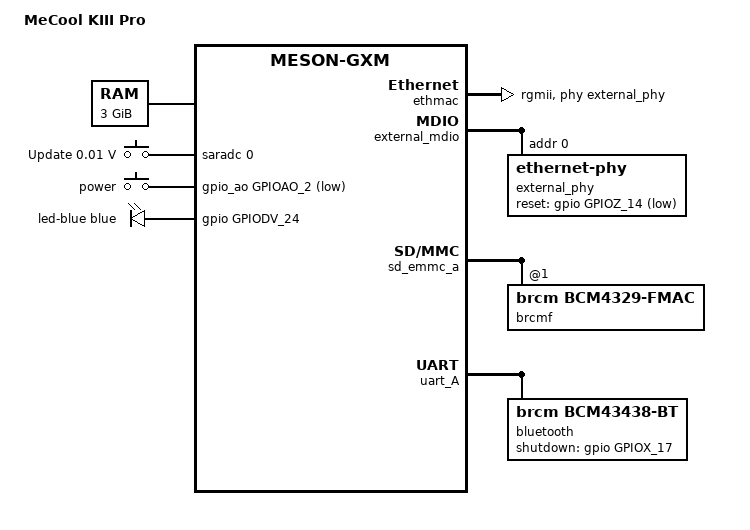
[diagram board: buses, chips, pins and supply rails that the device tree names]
// SPDX-License-Identifier: (GPL-2.0+ OR MIT)

/*
 * Author: Christian Hewitt <christianshewitt@gmail.com>
 */

/dts-v1/;

#include "meson-gxm.dtsi"
#include "meson-gx-p23x-q20x.dtsi"
#include <dt-bindings/input/input.h>
#include <dt-bindings/leds/common.h>

/ {
	compatible = "videostrong,gxm-kiii-pro", "amlogic,s912", "amlogic,meson-gxm";
	model = "MeCool KIII Pro";

	memory@0 {
		device_type = "memory";
		reg = <0x0 0x0 0x0 0xC0000000>;
	};

	adc-keys {
		compatible = "adc-keys";
		io-channels = <&saradc 0>;
		io-channel-names = "buttons";
		keyup-threshold-microvolt = <1710000>;

		button-function {
			label = "Update";
			linux,code = <KEY_VENDOR>;
			press-threshold-microvolt = <10000>;
		};
	};

	gpio-keys-polled {
		compatible = "gpio-keys-polled";
		poll-interval = <100>;

		button {
			label = "power";
			linux,code = <KEY_POWER>;
			gpios = <&gpio_ao GPIOAO_2 GPIO_ACTIVE_LOW>;
		};
	};

	leds {
		compatible = "gpio-leds";

		led-blue {
			color = <LED_COLOR_ID_BLUE>;
			function = LED_FUNCTION_POWER;
			gpios = <&gpio GPIODV_24 GPIO_ACTIVE_HIGH>;
			default-state = "on";
			panic-indicator;
		};
	};
};

&ethmac {
	pinctrl-0 = <&eth_pins>;
	pinctrl-names = "default";

	phy-handle = <&external_phy>;

	amlogic,tx-delay-ns = <2>;

	phy-mode = "rgmii";
};

&external_mdio {
	external_phy: ethernet-phy@0 {
		/* Realtek RTL8211F (0x001cc916) */
		reg = <0>;
		max-speed = <1000>;

		reset-assert-us = <10000>;
		reset-deassert-us = <80000>;
		reset-gpios = <&gpio GPIOZ_14 GPIO_ACTIVE_LOW>;

		interrupt-parent = <&gpio_intc>;
		/* MAC_INTR on GPIOZ_15 */
		interrupts = <25 IRQ_TYPE_LEVEL_LOW>;
	};
};

&ir {
	linux,rc-map-name = "rc-mecool-kiii-pro";
};

&sd_emmc_a {
	brcmf: wifi@1 {
		reg = <1>;
		compatible = "brcm,bcm4329-fmac";
	};
};

&uart_A {
	status = "okay";
	pinctrl-0 = <&uart_a_pins>, <&uart_a_cts_rts_pins>;
	pinctrl-names = "default";
	uart-has-rtscts;

	bluetooth {
		compatible = "brcm,bcm43438-bt";
		shutdown-gpios = <&gpio GPIOX_17 GPIO_ACTIVE_HIGH>;
		max-speed = <2000000>;
		clocks = <&wifi32k>;
		clock-names = "lpo";
	};
};
